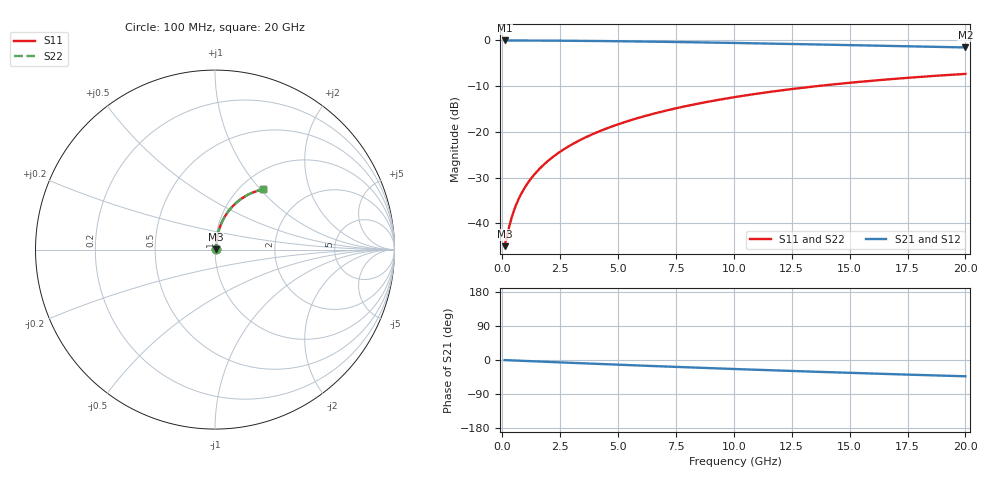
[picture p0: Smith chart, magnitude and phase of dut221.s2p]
! Touchstone file exported from HFSS 2024.1.0
!  File:  C:/UserFiles/LocalFiles/RDL_TSV_Batchsim/temp_RDL_bottom_221_1778700434.aedt
!  Generated:  03:29:46 AM May 14, 2026
!  Design:  RDL_bottom
!  Project:  temp_RDL_bottom_221_1778700434
!  Setup:  Setup1
!  Solution:  Sweep
! Variables:
!  dtsv = 10.80580581um
!  hbump = 3um
!  htsv = 53.54um
!  ldown = 607.53um
!  lrdl = 100um
!  p = 40
!  p1 = 41.29um
!  rhole = 1um
!  t = 450um
!  tdown = 2.89um
!  trdl = 3.915915916um
!  wdown = 15.2um
!  wrdl = 20um
# GHz S MA R 50.000000
! Terminal data exported
! Port[1] = RDL1_T1
! Port[2] = RDL1_T2
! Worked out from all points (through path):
!   200 points, 100 MHz to 20 GHz, reference 50 ohm
!   highest |S21| = -0.04 dB at 100 MHz (marker M1); lowest = -1.6 dB at 20 GHz (marker M2)
!   group delay of S21, straight-line fit = 5.96 ps
!   lowest |S11| = -45.0 dB at 100 MHz (marker M3), VSWR 1.01, Z = 50.5 + j0.261 ohm
!   |S11| at or under -10 dB: start of sweep to 13.62 GHz
!   |S22| runs from -45.0 to -7.3 dB; largest |S21 - S12| = 3.1e-15
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0.1  0.005652 27.2  0.995 -0.3  0.995 -0.3  0.005652 27.2
! Gamma 0 0 0 0
! Port Impedance 50 0 50 0
0.3  0.009308 55.3  0.9947 -0.8  0.9947 -0.8  0.009308 55.3
0.4  0.01151 61.6  0.9945 -1.0  0.9945 -1.0  0.01151 61.6
0.5  0.01377 65.7  0.9943 -1.3  0.9943 -1.3  0.01377 65.7
0.6  0.01606 68.6  0.9941 -1.6  0.9941 -1.6  0.01606 68.6
0.7  0.01836 70.7  0.9939 -1.8  0.9939 -1.8  0.01836 70.7
0.9  0.02297 73.7  0.9935 -2.3  0.9935 -2.3  0.02297 73.7
1.2  0.02996 76.4  0.9929 -3.1  0.9929 -3.1  0.02996 76.4
1.4  0.03464 77.6  0.9924 -3.6  0.9924 -3.6  0.03464 77.6
1.7  0.04171 78.7  0.9917 -4.3  0.9917 -4.3  0.04171 78.7
2.2  0.05358 79.6  0.9901 -5.6  0.9901 -5.6  0.05359 79.6
2.8  0.06792 80.0  0.9879 -7.0  0.9879 -7.0  0.06793 80.0
3.5  0.08474 79.7  0.9847 -8.8  0.9847 -8.8  0.08475 79.8
4.2  0.1016 79.1  0.9809 -10.5  0.9809 -10.5  0.1016 79.2
5  0.1209 78.2  0.976 -12.4  0.976 -12.4  0.1209 78.2
5.9  0.1426 76.9  0.9698 -14.5  0.9698 -14.5  0.1426 76.9
6.8  0.1642 75.5  0.9629 -16.6  0.9629 -16.6  0.1642 75.5
8.4  0.202 72.7  0.9495 -20.2  0.9495 -20.2  0.2021 72.7
10.1  0.241 69.5  0.9339 -23.9  0.9339 -23.9  0.2411 69.6
13.4  0.3118 63.3  0.9015 -30.8  0.9015 -30.8  0.312 63.3
16.7  0.3748 57.2  0.868 -37.1  0.868 -37.1  0.375 57.2
20  0.4295 51.4  0.8347 -43.0  0.8347 -43.0  0.4298 51.4
